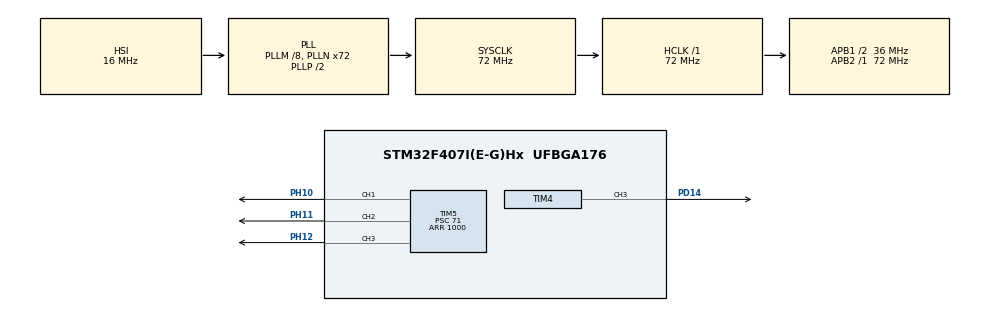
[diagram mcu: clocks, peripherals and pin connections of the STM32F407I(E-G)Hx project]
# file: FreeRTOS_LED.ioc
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FREERTOS.Tasks01=LEDTask,0,128,led_task,As weak,NULL,Dynamic,NULL,NULL;BuzzerTask,-3,128,buzzer_task,As weak,NULL,Dynamic,NULL,NULL
Mcu.Family=STM32F4
Mcu.Name=STM32F407I(E-G)Hx
Mcu.Package=UFBGA176
NVIC.PriorityGroup=NVIC_PRIORITYGROUP_4
PA13.Mode=Serial_Wire
PA13.Signal=SYS_JTMS-SWDIO
PA14.Mode=Serial_Wire
PA14.Signal=SYS_JTCK-SWCLK
PD14.Signal=S_TIM4_CH3
PH0-OSC_IN.Mode=HSE-External-Oscillator
PH0-OSC_IN.Signal=RCC_OSC_IN
PH1-OSC_OUT.Mode=HSE-External-Oscillator
PH1-OSC_OUT.Signal=RCC_OSC_OUT
PH10.Signal=S_TIM5_CH1
PH11.Signal=S_TIM5_CH2
PH12.Signal=S_TIM5_CH3
ProjectManager.HeapSize=0x200
ProjectManager.StackSize=0x400
ProjectManager.TargetToolchain=MDK-ARM V5.32
RCC.48MHZClocksFreq_Value=36000000
RCC.AHBFreq_Value=72000000
RCC.APB1CLKDivider=RCC_HCLK_DIV2
RCC.APB1Freq_Value=36000000
RCC.APB1TimFreq_Value=72000000
RCC.APB2Freq_Value=72000000
RCC.APB2TimFreq_Value=72000000
RCC.CortexFreq_Value=72000000
RCC.HCLKFreq_Value=72000000
RCC.HSE_VALUE=8000000
RCC.HSI_VALUE=16000000
RCC.LSE_VALUE=32768
RCC.PLLM=8
RCC.PLLN=72
RCC.SYSCLKFreq_VALUE=72000000
RCC.SYSCLKSource=RCC_SYSCLKSOURCE_PLLCLK
RCC.VCOOutputFreq_Value=144000000
SH.S_TIM4_CH3.0=TIM4_CH3,PWM Generation3 CH3
SH.S_TIM5_CH1.0=TIM5_CH1,PWM Generation1 CH1
SH.S_TIM5_CH2.0=TIM5_CH2,PWM Generation2 CH2
SH.S_TIM5_CH3.0=TIM5_CH3,PWM Generation3 CH3
TIM4.Channel-PWM\ Generation3\ CH3=TIM_CHANNEL_3
TIM4.Period=17999
TIM4.Prescaler=1
TIM5.Channel-PWM\ Generation1\ CH1=TIM_CHANNEL_1
TIM5.Channel-PWM\ Generation2\ CH2=TIM_CHANNEL_2
TIM5.Channel-PWM\ Generation3\ CH3=TIM_CHANNEL_3
TIM5.Period=1000
TIM5.Prescaler=71
VP_FREERTOS_VS_CMSIS_V1.Mode=CMSIS_V1
VP_TIM4_VS_ClockSourceINT.Mode=Internal
VP_TIM5_VS_ClockSourceINT.Mode=Internal
board=custom

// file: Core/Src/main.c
/* USER CODE BEGIN Header */
/**
  ******************************************************************************
  * @file           : main.c
  * @brief          : Main program body
  ******************************************************************************
  * @attention
  *
  * Copyright (c) 2025 STMicroelectronics.
  * All rights reserved.
  *
  * This software is licensed under terms that can be found in the LICENSE file
  * in the root directory of this software component.
  * If no LICENSE file comes with this software, it is provided AS-IS.
  *
  ******************************************************************************
  */
/* USER CODE END Header */
#include "main.h"
#include "cmsis_os.h"
#include "tim.h"
#include "gpio.h"

/* USER CODE BEGIN PV */
uint16_t pwmval = 0;
uint16_t buzzerval = 0;
int tones[12] = {261,270,293,311,329,349,370,392,415,440,466,493};
// int tones_arr[12] = {137931,133333,122866,115755,109422,103151,97297,91836,86746,81818,77253,73022};
int tones_arr[12] = {45977,44444,40955,38585,36474,34383,32432,30612,28915,27272,25751,24340};
/* USER CODE END PV */

void SystemClock_Config(void);
void MX_FREERTOS_Init(void);

/* USER CODE BEGIN 0 */
void playtone(int num){
  int arr = 0;
  int tone = tones[num-1];
  arr = 36000000.0/tone;
  __HAL_TIM_SET_AUTORELOAD(&htim4,arr);
  __HAL_TIM_SET_COMPARE(&htim4,TIM_CHANNEL_3,(int)arr/4);
}
void playtone_arr(int num){
  int arr = tones_arr[num-1];
  __HAL_TIM_SET_AUTORELOAD(&htim4,arr);
  __HAL_TIM_SET_COMPARE(&htim4,TIM_CHANNEL_3,(int)arr/4);
}
void stoptone(){
  __HAL_TIM_SET_COMPARE(&htim4,TIM_CHANNEL_3,1);
}

void led_task(void const * argument){
  while(1){
	while(pwmval < 1000){
      pwmval++;
      __HAL_TIM_SetCompare(&htim5,TIM_CHANNEL_1,pwmval);
	  __HAL_TIM_SetCompare(&htim5,TIM_CHANNEL_2,pwmval);
      __HAL_TIM_SetCompare(&htim5,TIM_CHANNEL_3,pwmval);
	  osDelay(2);
	}
	while(pwmval > 0){
      pwmval--;
      __HAL_TIM_SetCompare(&htim5,TIM_CHANNEL_1,pwmval);
	  __HAL_TIM_SetCompare(&htim5,TIM_CHANNEL_2,pwmval);
      __HAL_TIM_SetCompare(&htim5,TIM_CHANNEL_3,pwmval);
	  osDelay(2);
	}
   	 osDelay(200);
  }

}

void buzzer_task(void const * argument){

    playtone_arr(2);
    osDelay(250);
    stoptone();
    playtone_arr(3);
    osDelay(250);
    stoptone();
    playtone_arr(6);
    osDelay(350);
    stoptone();

	  // playtone(1);
    // osDelay(500);
    // stoptone();
    // playtone(2);
    // osDelay(500);
    // stoptone();
    // playtone(1);
    // osDelay(500);
    // stoptone();

    __HAL_TIM_SET_AUTORELOAD(&htim4, 6000);
    __HAL_TIM_SET_COMPARE(&htim4, TIM_CHANNEL_3, 0);

    HAL_TIM_PWM_Stop(&htim4, TIM_CHANNEL_3);

//    osDelay(1000);
//    osThreadTerminate(NULL);

	 while(1){
	   osDelay(1000);
	 }

}
/* USER CODE END 0 */

int main(void)
{

  /* MCU Configuration--------------------------------------------------------*/

  /* Reset of all peripherals, Initializes the Flash interface and the Systick. */
  HAL_Init();

  /* Configure the system clock */
  SystemClock_Config();

  /* Initialize all configured peripherals */
  MX_GPIO_Init();
  MX_TIM5_Init();
  MX_TIM4_Init();
  /* USER CODE BEGIN 2 */
  HAL_TIM_Base_Init(&htim4);
  HAL_TIM_Base_Init(&htim5);
  HAL_TIM_PWM_Start(&htim5,TIM_CHANNEL_1);
  HAL_TIM_PWM_Start(&htim5,TIM_CHANNEL_2);
  HAL_TIM_PWM_Start(&htim5,TIM_CHANNEL_3);
  HAL_TIM_PWM_Start(&htim4,TIM_CHANNEL_3);
  /* USER CODE END 2 */

  /* Call init function for freertos objects (in freertos.c) */
  MX_FREERTOS_Init();

  /* Start scheduler */
  osKernelStart();

  /* We should never get here as control is now taken by the scheduler */
  /* Infinite loop */
  while (1)
  {

  }
}

void SystemClock_Config(void)
{
  RCC_OscInitTypeDef RCC_OscInitStruct = {0};
  RCC_ClkInitTypeDef RCC_ClkInitStruct = {0};

  /** Configure the main internal regulator output voltage
  */
  __HAL_RCC_PWR_CLK_ENABLE();
  __HAL_PWR_VOLTAGESCALING_CONFIG(PWR_REGULATOR_VOLTAGE_SCALE1);

  /** Initializes the RCC Oscillators according to the specified parameters
  * in the RCC_OscInitTypeDef structure.
  */
  RCC_OscInitStruct.OscillatorType = RCC_OSCILLATORTYPE_HSI;
  RCC_OscInitStruct.HSIState = RCC_HSI_ON;
  RCC_OscInitStruct.HSICalibrationValue = RCC_HSICALIBRATION_DEFAULT;
  RCC_OscInitStruct.PLL.PLLState = RCC_PLL_ON;
  RCC_OscInitStruct.PLL.PLLSource = RCC_PLLSOURCE_HSI;
  RCC_OscInitStruct.PLL.PLLM = 8;
  RCC_OscInitStruct.PLL.PLLN = 72;
  RCC_OscInitStruct.PLL.PLLP = RCC_PLLP_DIV2;
  RCC_OscInitStruct.PLL.PLLQ = 4;
  if (HAL_RCC_OscConfig(&RCC_OscInitStruct) != HAL_OK)
  {
    Error_Handler();
  }

  /** Initializes the CPU, AHB and APB buses clocks
  */
  RCC_ClkInitStruct.ClockType = RCC_CLOCKTYPE_HCLK|RCC_CLOCKTYPE_SYSCLK
                              |RCC_CLOCKTYPE_PCLK1|RCC_CLOCKTYPE_PCLK2;
  RCC_ClkInitStruct.SYSCLKSource = RCC_SYSCLKSOURCE_PLLCLK;
  RCC_ClkInitStruct.AHBCLKDivider = RCC_SYSCLK_DIV1;
  RCC_ClkInitStruct.APB1CLKDivider = RCC_HCLK_DIV2;
  RCC_ClkInitStruct.APB2CLKDivider = RCC_HCLK_DIV1;

  if (HAL_RCC_ClockConfig(&RCC_ClkInitStruct, FLASH_LATENCY_2) != HAL_OK)
  {
    Error_Handler();
  }
}

void Error_Handler(void)
{
  __disable_irq();
  while (1)
  {
  }
}

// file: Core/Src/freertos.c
/* USER CODE BEGIN Header */
/**
  ******************************************************************************
  * File Name          : freertos.c
  * Description        : Code for freertos applications
  ******************************************************************************
  * @attention
  *
  * Copyright (c) 2025 STMicroelectronics.
  * All rights reserved.
  *
  * This software is licensed under terms that can be found in the LICENSE file
  * in the root directory of this software component.
  * If no LICENSE file comes with this software, it is provided AS-IS.
  *
  ******************************************************************************
  */
/* USER CODE END Header */

#include "FreeRTOS.h"
#include "task.h"
#include "main.h"
#include "cmsis_os.h"

osThreadId LEDTaskHandle;
osThreadId BuzzerTaskHandle;

void led_task(void const * argument);
void buzzer_task(void const * argument);

void MX_FREERTOS_Init(void); /* (MISRA C 2004 rule 8.1) */

/* GetIdleTaskMemory prototype (linked to static allocation support) */
void vApplicationGetIdleTaskMemory( StaticTask_t **ppxIdleTaskTCBBuffer, StackType_t **ppxIdleTaskStackBuffer, uint32_t *pulIdleTaskStackSize );

/* USER CODE BEGIN GET_IDLE_TASK_MEMORY */
static StaticTask_t xIdleTaskTCBBuffer;
static StackType_t xIdleStack[configMINIMAL_STACK_SIZE];

void vApplicationGetIdleTaskMemory( StaticTask_t **ppxIdleTaskTCBBuffer, StackType_t **ppxIdleTaskStackBuffer, uint32_t *pulIdleTaskStackSize )
{
  *ppxIdleTaskTCBBuffer = &xIdleTaskTCBBuffer;
  *ppxIdleTaskStackBuffer = &xIdleStack[0];
  *pulIdleTaskStackSize = configMINIMAL_STACK_SIZE;
  /* place for user code */
}
/* USER CODE END GET_IDLE_TASK_MEMORY */

void MX_FREERTOS_Init(void) {

  /* Create the thread(s) */
  /* definition and creation of LEDTask */
  osThreadDef(LEDTask, led_task, osPriorityNormal, 0, 128);
  LEDTaskHandle = osThreadCreate(osThread(LEDTask), NULL);

  /* definition and creation of BuzzerTask */
  osThreadDef(BuzzerTask, buzzer_task, osPriorityIdle, 0, 128);
  BuzzerTaskHandle = osThreadCreate(osThread(BuzzerTask), NULL);

}

__weak void led_task(void const * argument)
{
  for(;;)
  {
    osDelay(1);
  }
}

__weak void buzzer_task(void const * argument)
{
  for(;;)
  {
    osDelay(1);
  }
}
